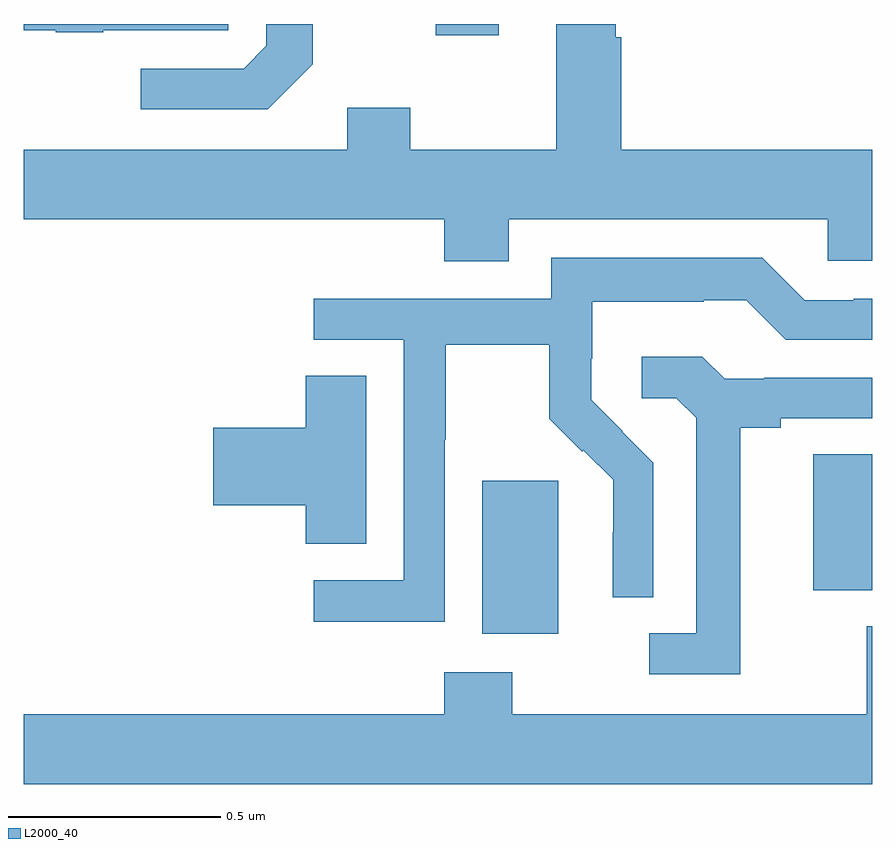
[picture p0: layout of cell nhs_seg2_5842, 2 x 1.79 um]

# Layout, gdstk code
import gdstk
lib = gdstk.Library(unit=1e-6, precision=1e-09)
def R(c, l, rs):  # rectangles x0, y0, x1, y1
    for r in rs: c.add(gdstk.rectangle(r[:2], r[2:], *l))
def P(c, l, *ps):  # polygons
    for p in ps: c.add(gdstk.Polygon(p, *l))
L2000_40 = (2000, 40)

nhs_seg2_5842 = lib.new_cell('nhs_seg2_5842')
R(nhs_seg2_5842, L2000_40, [(185.081,609.362,185.26,609.723), (185.861,609.465,186,609.785), (184.971,610.773,185.12,610.8)])
P(nhs_seg2_5842, L2000_40, [(185.143,610.34),(185.895,610.34),(185.895,610.242),(186,610.242),(186,610.504),(185.408,610.504),(185.408,610.769),(185.395,610.769),(185.395,610.8),(185.255,610.8),(185.255,610.504),(184.911,610.504),(184.911,610.603),(184.763,610.603),(184.763,610.504),(184,610.504),(184,610.34),(184.991,610.34),(184.991,610.241),(185.143,610.241)],
  [(184.187,610.785),(184.482,610.785),(184.482,610.8),(184,610.8),(184,610.785),(184.075,610.785),(184.075,610.78),(184.187,610.78)],
  [(184.681,610.705),(184.681,610.8),(184.572,610.8),(184.572,610.749),(184.518,610.695),(184.275,610.695),(184.275,610.599),(184.575,610.599)],
  [(184.992,609.82),(184.995,609.82),(184.995,610.044),(185.239,610.044),(185.239,609.869),(185.316,609.792),(185.319,609.795),(185.39,609.725),(185.39,609.602),(185.388,609.602),(185.388,609.448),(185.484,609.448),(185.484,609.766),(185.411,609.839),(185.412,609.84),(185.338,609.914),(185.338,610.011),(185.34,610.011),(185.34,610.145),(185.603,610.145),(185.603,610.149),(185.703,610.149),(185.796,610.056),(186,610.056),(186,610.152),(185.957,610.152),(185.957,610.149),(185.841,610.149),(185.741,610.249),(185.244,610.249),(185.244,610.152),(184.683,610.152),(184.683,610.056),(184.896,610.056),(184.896,609.489),(184.683,609.489),(184.683,609.391),(184.992,609.391)],
  [(185.689,609.848),(185.785,609.848),(185.785,609.87),(186,609.87),(186,609.966),(185.746,609.966),(185.746,609.963),(185.652,609.963),(185.6,610.015),(185.457,610.015),(185.457,609.918),(185.538,609.918),(185.585,609.871),(185.585,609.363),(185.475,609.363),(185.475,609.267),(185.689,609.267)],
  [(184.807,609.971),(184.664,609.971),(184.664,609.848),(184.446,609.848),(184.446,609.665),(184.664,609.665),(184.664,609.574),(184.807,609.574)],
  [(186,609.38),(185.987,609.38),(185.987,609.172),(185.151,609.172),(185.151,609.271),(184.991,609.271),(184.991,609.172),(184,609.172),(184,609.008),(186,609.008)])

lib.write_gds('nhs_seg2_5842.gds')
